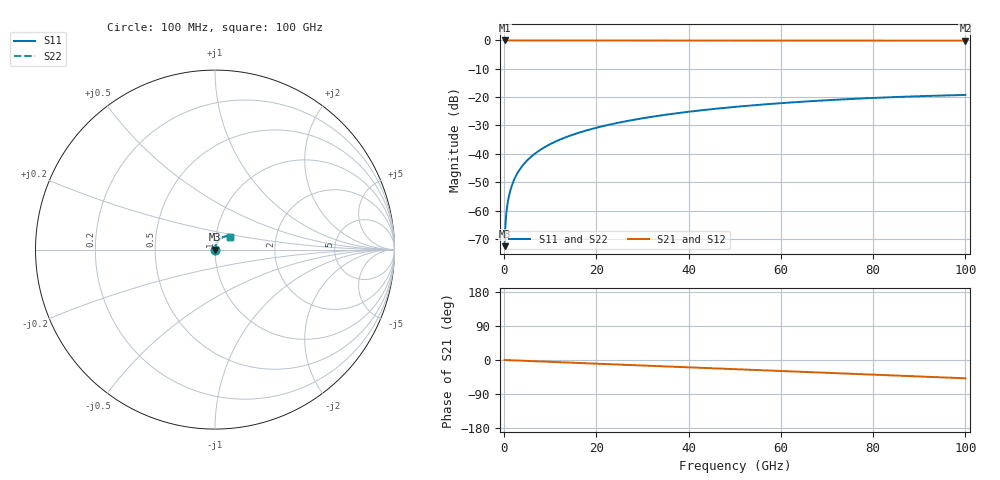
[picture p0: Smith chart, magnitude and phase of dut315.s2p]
! Touchstone file exported from HFSS 2026.1.0
!  File:  C:/ffzhzh/LocalFiles/Ansys_Project_Files/temp_train_TSV_315_1783509412_55944.aedt
!  Generated:  07:18:06 PM Jul  8, 2026
!  Design:  TSV
!  Project:  temp_train_TSV_315_1783509412_55944
! Variables:
!  h_bsmrdl = 2um
!  h_ox = 20um
!  h_rdl = 5um
!  h_sub = 95.79um
!  h_tmrdl = 5um
!  h_tsv = 95.79um
!  h_via = 3um
!  l_bsmrdl = 300um
!  l_sub = 420.84um
!  l_tmrdl = 200um
!  m_sub = 200um
!  pitch = 51.7um
!  r_tsv = 10.42um
!  s_tmrdl = 10um
!  w_bsmrdl = 18um
!  w_sub = 500um
!  w_tmrdl = 12um
!  x_tsv_center1 = 206um
!  x_tsv_center2 = 524um
!  x_tsv_center3 = 736um
!  x_tsv_center4 = 1054um
!  x_tsv_center5 = 1266um
!  x_tsv_center6 = 1584um
# GHz S MA R 50.000000
! Terminal data exported
! Port[1] = TSV1_1_T1
! Port[2] = TSV1_1_T2
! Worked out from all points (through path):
!   1000 points, 100 MHz to 100 GHz, reference 50 ohm
!   highest |S21| = 0.00 dB at 100 MHz (marker M1); lowest = -0.1 dB at 100 GHz (marker M2)
!   group delay of S21, straight-line fit = 1.34 ps
!   lowest |S11| = -72.6 dB at 100 MHz (marker M3), VSWR 1.00, Z = 50 + j0.0192 ohm
!   |S11| at or under -10 dB: start of sweep to end of sweep
!   |S22| runs from -72.6 to -19.2 dB; largest |S21 - S12| = 1.3e-14
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0.1  0.000235 54.9  0.9999 -0.1  0.9999 -0.1  0.000235 54.9
! Gamma 0 0 0 0
! Port Impedance 50 0 50 0
0.3  0.0005882 73.1  0.9998 -0.2  0.9998 -0.2  0.0005882 73.1
0.7  0.001259 77.7  0.9997 -0.4  0.9997 -0.4  0.001259 77.7
0.8  0.001418 78.2  0.9997 -0.4  0.9997 -0.4  0.001418 78.2
1  0.001729 79.0  0.9997 -0.5  0.9997 -0.5  0.001729 79.0
1.3  0.002189 79.9  0.9996 -0.6  0.9996 -0.6  0.002189 79.9
1.8  0.002947 80.9  0.9996 -0.9  0.9996 -0.9  0.002947 80.9
2.3  0.003699 81.5  0.9995 -1.1  0.9995 -1.1  0.003699 81.5
3  0.004741 81.9  0.9994 -1.5  0.9994 -1.5  0.004741 81.9
3.8  0.005918 82.2  0.9994 -1.9  0.9994 -1.9  0.005918 82.2
4.8  0.007376 82.3  0.9993 -2.4  0.9993 -2.4  0.007376 82.3
6  0.009115 82.2  0.9992 -2.9  0.9992 -2.9  0.009115 82.2
8.8  0.01314 81.6  0.999 -4.3  0.999 -4.3  0.01314 81.6
12.4  0.01826 80.4  0.9987 -6.0  0.9987 -6.0  0.01826 80.4
16.8  0.02442 78.7  0.9984 -8.2  0.9984 -8.2  0.02442 78.7
24.2  0.03459 75.7  0.9978 -11.8  0.9978 -11.8  0.03459 75.7
33.4  0.04682 71.6  0.9971 -16.2  0.9971 -16.2  0.04682 71.6
41.2  0.05671 68.0  0.9963 -20.0  0.9963 -20.0  0.05671 68.0
50.1  0.06736 63.9  0.9955 -24.3  0.9955 -24.3  0.06736 63.9
66.7  0.08506 56.2  0.9938 -32.2  0.9938 -32.2  0.08506 56.1
83.4  0.09939 48.3  0.9921 -40.3  0.9921 -40.3  0.09939 48.3
100  0.1093 40.5  0.9906 -48.3  0.9906 -48.3  0.1093 40.4
